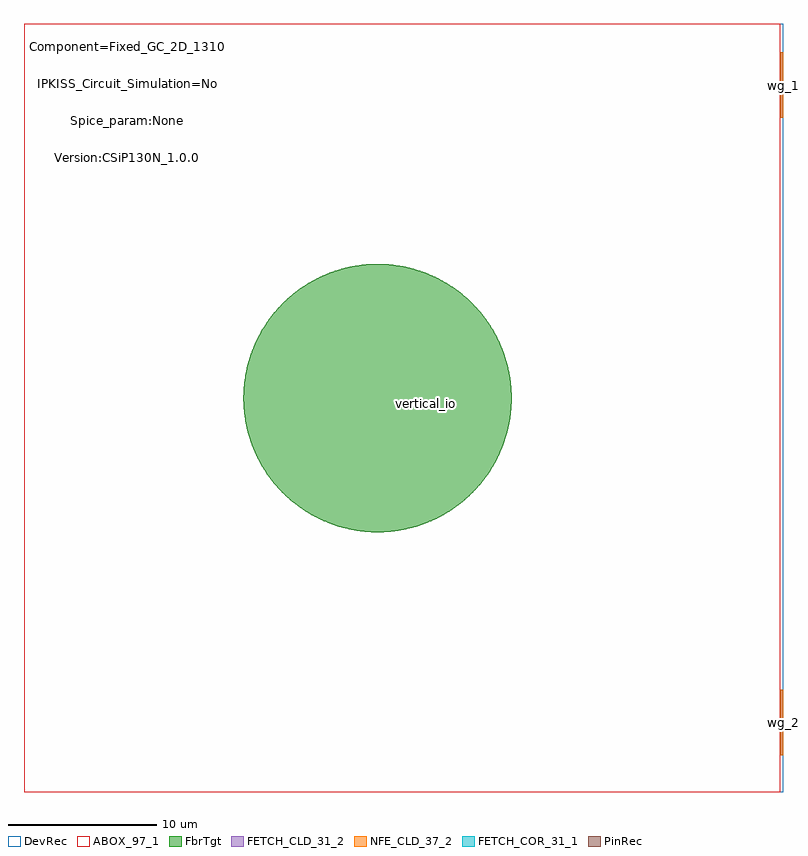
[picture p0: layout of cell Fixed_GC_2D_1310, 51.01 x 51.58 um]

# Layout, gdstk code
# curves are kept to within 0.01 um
import gdstk
lib = gdstk.Library(unit=1e-6, precision=1e-09)
def R(c, l, rs):  # rectangles x0, y0, x1, y1
    for r in rs: c.add(gdstk.rectangle(r[:2], r[2:], *l))
def P(c, l, *ps):  # polygons
    for p in ps: c.add(gdstk.Polygon(p, *l))
FETCH_COR_31_1 = (31, 1)
FETCH_CLD_31_2 = (31, 2)
NFE_CLD_37_2 = (37, 2)
PinRec = (95, 0)
ABOX_97_1 = (97, 1)
FbrTgt = (1000, 0)
DevRec = (1001, 0)

fixed_gc_2d_1310 = lib.new_cell('Fixed_GC_2D_1310')
R(fixed_gc_2d_1310, FETCH_COR_31_1, [(-0.2,-21.581,0,-21.201), (-0.2,21.201,0,21.581)])
R(fixed_gc_2d_1310, FETCH_CLD_31_2, [(-0.2,-23.581,0,-19.201), (-0.2,19.201,0,23.581)])
R(fixed_gc_2d_1310, NFE_CLD_37_2, [(-0.2,-23.581,0,-19.201), (-0.2,19.201,0,23.581)])
R(fixed_gc_2d_1310, ABOX_97_1, [(-50.962,-26.074,-0.2,25.502)])
P(fixed_gc_2d_1310, FbrTgt, [(-27.317,-8.622),(-27.769,-8.606),(-28.22,-8.568),(-28.612,-8.516),(-29.057,-8.435),(-29.552,-8.318),(-30.04,-8.173),(-30.832,-7.871),(-31.293,-7.654),(-31.642,-7.468),(-32.361,-7.018),(-32.991,-6.539),(-33.331,-6.241),(-33.656,-5.926),(-34.002,-5.553),(-34.256,-5.249),(-34.497,-4.935),(-34.785,-4.516),(-35.022,-4.13),(-35.264,-3.683),(-35.59,-2.961),(-35.747,-2.537),(-35.883,-2.106),(-36.078,-1.281),(-36.195,-0.441),(-36.225,0.011),(-36.232,0.463),(-36.216,0.915),(-36.178,1.366),(-36.126,1.758),(-36.045,2.203),(-35.928,2.698),(-35.783,3.186),(-35.481,3.978),(-35.264,4.439),(-35.078,4.788),(-34.628,5.507),(-34.149,6.137),(-33.851,6.477),(-33.536,6.802),(-33.163,7.148),(-32.859,7.402),(-32.545,7.643),(-32.126,7.931),(-31.74,8.168),(-31.293,8.41),(-30.571,8.736),(-30.147,8.893),(-29.716,9.029),(-28.891,9.224),(-28.051,9.341),(-27.599,9.371),(-27.147,9.378),(-26.695,9.362),(-26.244,9.324),(-25.852,9.272),(-25.407,9.191),(-24.912,9.074),(-24.424,8.929),(-23.632,8.627),(-23.171,8.41),(-22.822,8.224),(-22.103,7.774),(-21.473,7.295),(-21.133,6.997),(-20.808,6.682),(-20.462,6.309),(-20.208,6.005),(-19.967,5.691),(-19.679,5.272),(-19.442,4.886),(-19.2,4.439),(-18.874,3.717),(-18.717,3.293),(-18.581,2.862),(-18.386,2.037),(-18.269,1.197),(-18.239,0.745),(-18.232,0.293),(-18.248,-0.159),(-18.286,-0.61),(-18.338,-1.002),(-18.419,-1.447),(-18.536,-1.942),(-18.681,-2.43),(-18.983,-3.222),(-19.2,-3.683),(-19.386,-4.032),(-19.836,-4.751),(-20.315,-5.381),(-20.613,-5.721),(-20.928,-6.046),(-21.301,-6.392),(-21.605,-6.646),(-21.919,-6.887),(-22.338,-7.175),(-22.724,-7.412),(-23.171,-7.654),(-23.893,-7.98),(-24.317,-8.137),(-24.748,-8.273),(-25.573,-8.468),(-26.413,-8.585),(-26.865,-8.615)])
R(fixed_gc_2d_1310, DevRec, [(-50.962,-26.074,0,25.502)])
fixed_gc_2d_1310.add(gdstk.FlexPath([(-0.05,21.391),(0.05,21.391)], 0.38, ends="flush", simple_path=True, layer=95, datatype=0))  # PinRec
fixed_gc_2d_1310.add(gdstk.FlexPath([(-0.05,-21.391),(0.05,-21.391)], 0.38, ends="flush", simple_path=True, layer=95, datatype=0))  # PinRec
fixed_gc_2d_1310.add(gdstk.Label('wg_1', (0,21.391), layer=95, texttype=0))
fixed_gc_2d_1310.add(gdstk.Label('wg_2', (0,-21.391), layer=95, texttype=0))
fixed_gc_2d_1310.add(gdstk.Label('vertical_io', (-24,0), layer=1000, texttype=0))
fixed_gc_2d_1310.add(gdstk.Label('vertical_io', (-27.733,0.722), layer=1000, texttype=0))
fixed_gc_2d_1310.add(gdstk.Label('Version:CSiP130N_1.0.0', (-44,16.5), layer=1001, texttype=0))
fixed_gc_2d_1310.add(gdstk.Label('IPKISS_Circuit_Simulation=None', (-44,21.5), layer=1001, texttype=0))
fixed_gc_2d_1310.add(gdstk.Label('Component=Fixed_GC_2D_1310', (-44,24), layer=1001, texttype=0))
fixed_gc_2d_1310.add(gdstk.Label('Spice_param:None', (-44,19), layer=1001, texttype=0))

lib.write_gds('Fixed_GC_2D_1310.gds')
